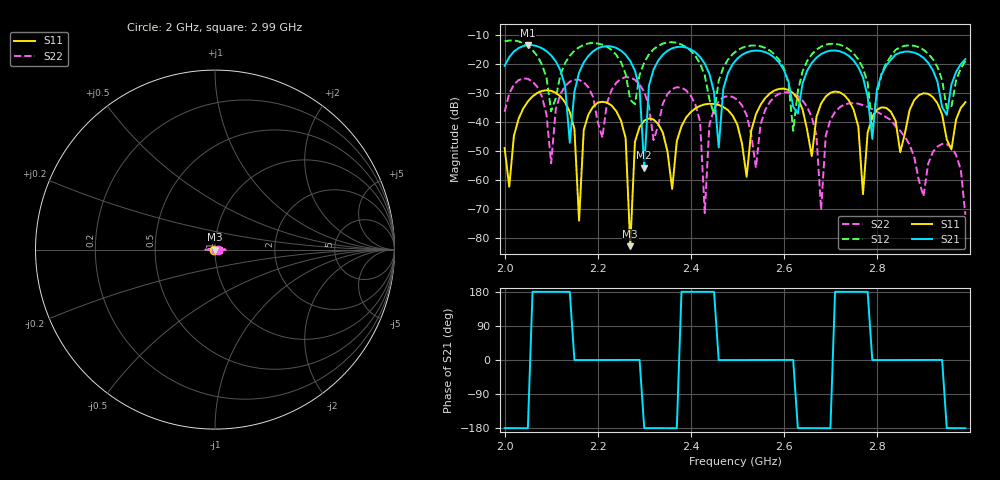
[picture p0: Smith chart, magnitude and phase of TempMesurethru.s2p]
! 2000 3000 10
# MHz S MA R 50.0
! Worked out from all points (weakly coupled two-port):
!   100 points, 2 GHz to 2.99 GHz, reference 50 ohm
!   highest |S21| = -13.57 dB at 2.05 GHz (marker M1); lowest = -55.7 dB at 2.3 GHz (marker M2)
!   lowest |S11| = -82.7 dB at 2.27 GHz (marker M3), VSWR 1.00, Z = 50 + j1.71e-06 ohm
!   |S11| at or under -10 dB: start of sweep to end of sweep
!   |S22| runs from -71.9 to -24.6 dB; largest |S21 - S12| = 0.43
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2000  -0.003572 -0.0  -0.09225 0.2  0.244 -0.1  0.015 -0.1
2050  0.02256 -0.0  -0.2097 0.0  0.2023 0.1  0.05519 0.0
2100  0.03435 0.0  -0.1397 -0.1  0.01526 0.2  -0.001947 0.1
2140  0.01492 0.0  -0.004409 -0.2  -0.1377 0.2  -0.04934 0.0
2160  -0.0002018 0.0  0.07082 -0.2  -0.193 0.1  -0.053 -0.0
2170  -0.007269 0.0  0.1056 -0.2  -0.2116 0.1  -0.04825 -0.0
2250  -0.01059 -0.0  0.1691 0.1  -0.1073 -0.2  0.0553 -0.0
2270  -7.327e-05 -0.0  0.112 0.2  -0.02398 -0.2  0.05829 0.0
2300  0.01056 -0.0  -0.001632 0.2  0.1063 -0.2  0.03269 0.0
2330  0.009232 0.0  -0.1135 0.2  0.2036 -0.1  -0.008719 0.0
2360  -0.0007064 0.0  -0.1851 0.1  0.2356 0.0  -0.03678 0.0
2400  -0.01481 0.0  -0.1774 -0.1  0.1676 0.2  -0.02833 -0.0
2430  -0.02011 0.0  -0.1011 -0.2  0.06354 0.2  -0.000272 -0.0
2460  -0.01962 -0.0  0.003649 -0.2  -0.05142 0.2  0.02276 -0.0
2500  -0.008999 -0.0  0.123 -0.1  -0.1704 0.1  0.02408 0.0
2540  0.01354 -0.0  0.1694 -0.0  -0.2067 -0.0  -0.001636 0.0
2620  0.03126 0.0  0.01825 0.2  -0.007025 -0.2  -0.03104 -0.0
2660  -0.002583 0.0  -0.1038 0.1  0.1461 -0.2  -0.01209 -0.0
2680  -0.0208 0.0  -0.1471 0.1  0.1982 -0.1  0.0003104 -0.0
2770  -0.0005746 -0.0  -0.05847 -0.2  0.08458 0.2  0.01951 -0.0
2830  0.01499 0.0  0.1177 -0.1  -0.1355 0.2  0.01077 0.0
2990  0.02195 -0.0  -0.1204 0.1  0.1116 -0.2  -0.0002541 0.0
